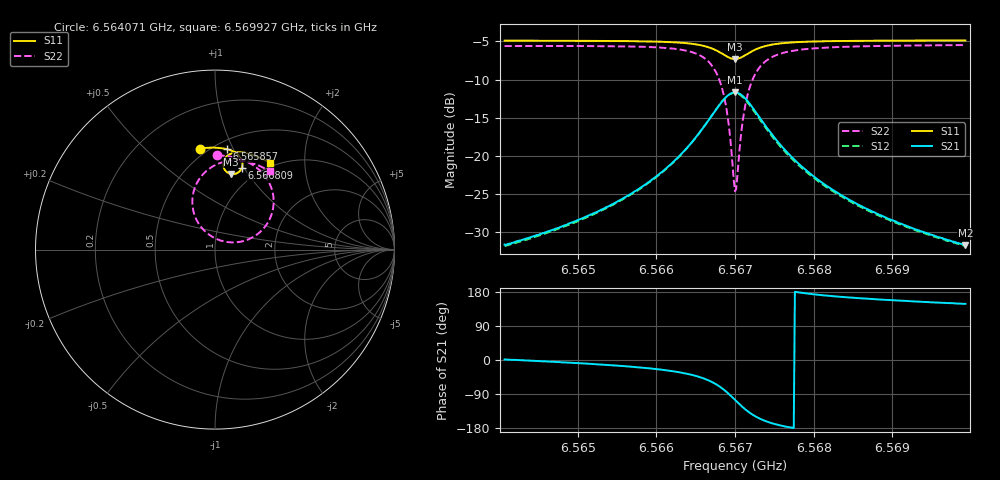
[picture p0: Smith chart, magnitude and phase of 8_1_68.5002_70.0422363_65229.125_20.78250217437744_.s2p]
#  HZ  S  RI  R  50.00
! Rohde & Schwarz Vector Network Analyzer
! Rohde-Schwarz,ZNB20-2Port,1311601062101988,3.16
! Created: UTC 3/20/2024, 5:04:02 PM
! freq[Hz]  re:S11  im:S11  re:S21  im:S21  re:S12  im:S12  re:S22  im:S22
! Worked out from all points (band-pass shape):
!   401 points, 6.564071 GHz to 6.569927 GHz, reference 50 ohm
!   highest |S21| = -11.69 dB at 6.566999 GHz (marker M1); lowest = -31.7 dB at 6.569927 GHz (marker M2)
!   |S21| within 3 dB of the highest: 6.566707 GHz to 6.567292 GHz (584.6 kHz wide, 0.0089 % of centre)
!   lowest |S11| = -7.3 dB at 6.566999 GHz (marker M3), VSWR 2.51, Z = 40.4 + j41.8 ohm
!   |S11| at or under -10 dB: nowhere
!   |S22| runs from -24.6 to -5.5 dB; largest |S21 - S12| = 0.012
!   S11 on the Smith chart (normalised r, x): 6.564071 GHz: 0.45, +0.75; 6.565857 GHz: 0.58, +0.94; 6.566809 GHz: 0.83, +0.97; 6.569927 GHz: 0.94, +1.35
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6.564071e9  -0.0848 0.5627  0.0261 0.000682  0.0255 0.000216  0.0139 0.5247
6.5650519e9  -0.00562 0.5679  0.0383 -0.00597  0.0376 -0.00659  0.1034 0.5146
6.5658571e9  0.0666 0.5594  0.0605 -0.0231  0.0594 -0.024  0.1988 0.4787
6.5660328e9  0.0842 0.5542  0.0686 -0.0318  0.0674 -0.0324  0.2256 0.4614
6.5663402e9  0.1181 0.5375  0.0876 -0.0594  0.086 -0.0607  0.2811 0.4061
6.5665598e9  0.1429 0.5122  0.1008 -0.1033  0.0989 -0.1052  0.3205 0.3217
6.5667062e9  0.1532 0.4819  0.0975 -0.1562  0.0936 -0.1589  0.3219 0.2206
6.5668087e9  0.1485 0.4528  0.0718 -0.206  0.0655 -0.2088  0.2781 0.127
6.5668966e9  0.1285 0.4291  0.0207 -0.2447  0.0114 -0.2454  0.1857 0.0568
6.5669258e9  0.1182 0.4238  -0.00286 -0.2524  -0.0128 -0.2517  0.1434 0.0442
6.5669844e9  0.0944 0.4205  -0.0552 -0.2541  -0.0655 -0.2498  0.0507 0.0454
6.566999e9  0.0882 0.4215  -0.0683 -0.2513  -0.0785 -0.246  0.0278 0.0516
6.5670283e9  0.0764 0.4254  -0.0935 -0.2417  -0.1028 -0.2347  -0.0151 0.0713
6.5670869e9  0.0575 0.4402  -0.1342 -0.2102  -0.1409 -0.2009  -0.0817 0.1312
6.5671308e9  0.0493 0.4547  -0.1541 -0.1808  -0.1582 -0.1709  -0.1111 0.1851
6.5671894e9  0.0454 0.4747  -0.1666 -0.1414  -0.1679 -0.1319  -0.1262 0.2553
6.5672626e9  0.0496 0.4962  -0.1665 -0.0992  -0.1655 -0.0911  -0.1177 0.3284
6.5675261e9  0.0885 0.5346  -0.1248 -0.0213  -0.1221 -0.0181  -0.0226 0.4571
6.5679799e9  0.1472 0.5421  -0.074 0.00798  -0.0724 0.00912  0.097 0.4961
6.5684484e9  0.1926 0.5334  -0.0499 0.0134  -0.0487 0.0138  0.1697 0.4913
6.5689608e9  0.235 0.5188  -0.0357 0.0143  -0.0349 0.0146  0.2263 0.4755
6.569927e9  0.3046 0.4829  -0.022 0.0136  -0.0216 0.0137  0.3063 0.4359
